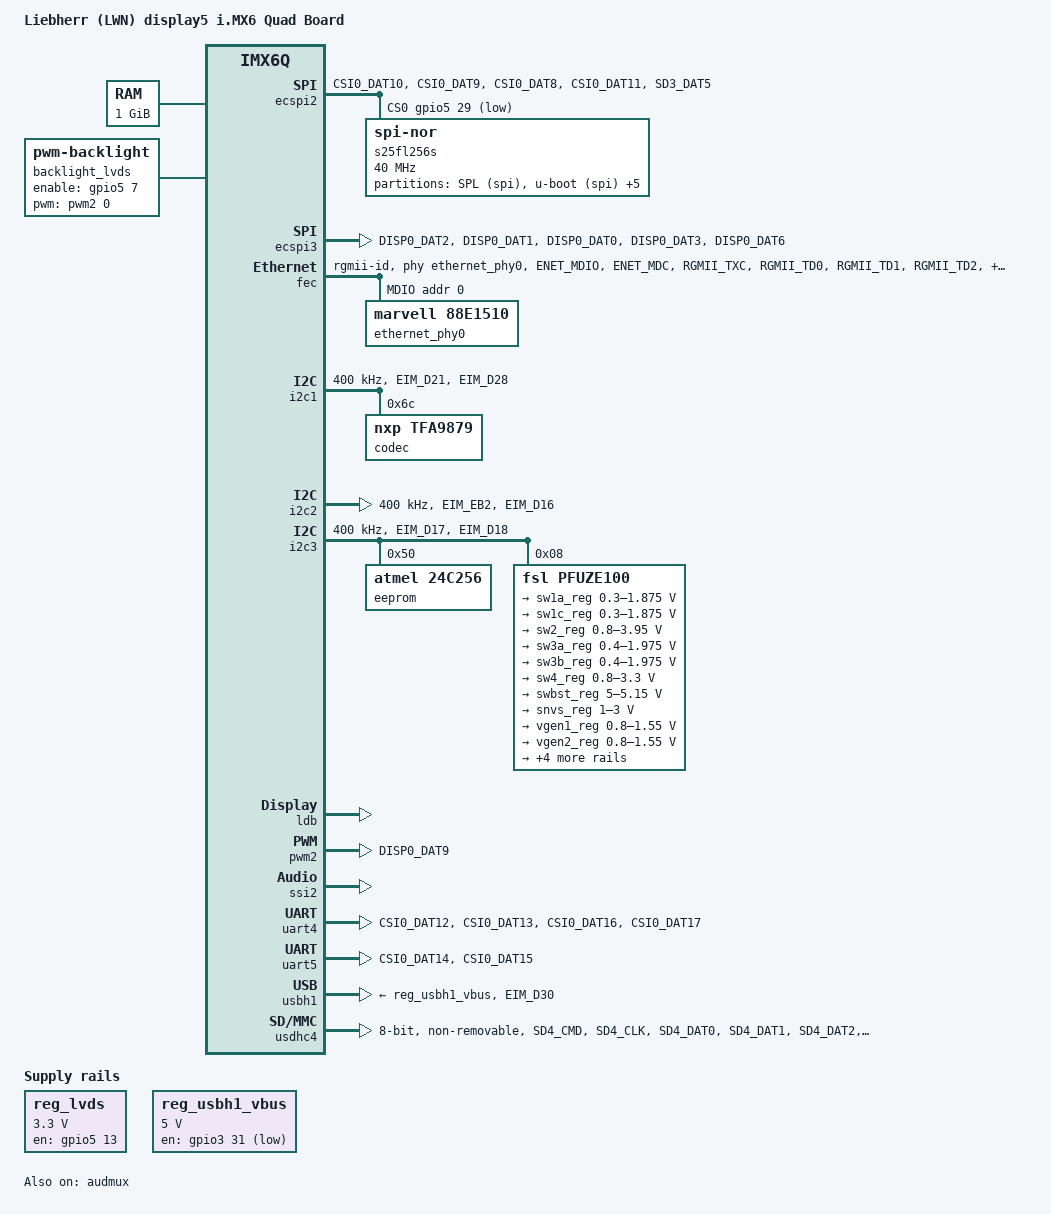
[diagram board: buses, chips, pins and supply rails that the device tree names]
// SPDX-License-Identifier: (GPL-2.0-only OR MIT)
/*
 * Copyright 2017
 * Lukasz Majewski, DENX Software Engineering, lukma@denx.de
 */

/dts-v1/;

#include "imx6q.dtsi"

#include <dt-bindings/gpio/gpio.h>
#include <dt-bindings/pwm/pwm.h>
#include <dt-bindings/sound/fsl-imx-audmux.h>

/ {
	model = "Liebherr (LWN) display5 i.MX6 Quad Board";
	compatible = "lwn,display5", "fsl,imx6q";

	memory@10000000 {
		device_type = "memory";
		reg = <0x10000000 0x40000000>;
	};

	backlight_lvds: backlight {
		compatible = "pwm-backlight";
		pinctrl-names = "default";
		pinctrl-0 = <&pinctrl_backlight>;
		pwms = <&pwm2 0 5000000 0>;
		brightness-levels = <  0   1   2   3   4   5   6   7   8   9
				      10  11  12  13  14  15  16  17  18  19
				      20  21  22  23  24  25  26  27  28  29
				      30  31  32  33  34  35  36  37  38  39
				      40  41  42  43  44  45  46  47  48  49
				      50  51  52  53  54  55  56  57  58  59
				      60  61  62  63  64  65  66  67  68  69
				      70  71  72  73  74  75  76  77  78  79
				      80  81  82  83  84  85  86  87  88  89
				      90  91  92  93  94  95  96  97  98  99
				     100 101 102 103 104 105 106 107 108 109
				     110 111 112 113 114 115 116 117 118 119
				     120 121 122 123 124 125 126 127 128 129
				     130 131 132 133 134 135 136 137 138 139
				     140 141 142 143 144 145 146 147 148 149
				     150 151 152 153 154 155 156 157 158 159
				     160 161 162 163 164 165 166 167 168 169
				     170 171 172 173 174 175 176 177 178 179
				     180 181 182 183 184 185 186 187 188 189
				     190 191 192 193 194 195 196 197 198 199
				     200 201 202 203 204 205 206 207 208 209
				     210 211 212 213 214 215 216 217 218 219
				     220 221 222 223 224 225 226 227 228 229
				     230 231 232 233 234 235 236 237 238 239
				     240 241 242 243 244 245 246 247 248 249
				     250 251 252 253 254 255>;
		default-brightness-level = <250>;
		enable-gpios = <&gpio5 7 GPIO_ACTIVE_HIGH>;
	};

	reg_lvds: regulator-lvds {
		compatible = "regulator-fixed";
		regulator-name = "lvds_ppen";
		regulator-min-microvolt = <3300000>;
		regulator-max-microvolt = <3300000>;
		regulator-boot-on;
		regulator-always-on;
		pinctrl-names = "default";
		pinctrl-0 = <&pinctrl_reg_lvds>;
		gpio = <&gpio5 13 GPIO_ACTIVE_HIGH>;
		enable-active-high;
	};

	reg_usbh1_vbus: usb-h1-vbus {
		compatible = "regulator-fixed";
		gpio = <&gpio3 31 GPIO_ACTIVE_LOW>;
		pinctrl-names = "default";
		pinctrl-0 = <&pinctrl_usbh1_vbus>;
		regulator-name = "usb_h1_vbus";
		regulator-min-microvolt = <5000000>;
		regulator-max-microvolt = <5000000>;
		regulator-enable-ramp-delay = <300000>;
	};

	sound {
		compatible = "simple-audio-card";
		label = "tfa9879-mono";

		simple-audio-card,dai-link {
			/* DAC */
			format = "i2s";
			bitclock-master = <&dailink_master>;
			frame-master = <&dailink_master>;

			dailink_master: cpu {
			    sound-dai = <&ssi2>;
			};
			codec {
			    sound-dai = <&codec>;
			};
		};
	};

	panel: panel-lvds0 {
		backlight = <&backlight_lvds>;
		power-supply = <&reg_lvds>;

		port {
			panel_in_lvds0: endpoint {
				remote-endpoint = <&lvds0_out>;
			};
		};
	};
};

&audmux {
	pinctrl-names = "default";
	pinctrl-0 = <&pinctrl_audmux>;
	status = "okay";

	mux-ssi2 {
		fsl,audmux-port = <1>;
		fsl,port-config = <
			(IMX_AUDMUX_V2_PTCR_SYN |
			 IMX_AUDMUX_V2_PTCR_TFSEL(5) |
			 IMX_AUDMUX_V2_PTCR_TCSEL(5) |
			 IMX_AUDMUX_V2_PTCR_TFSDIR |
			 IMX_AUDMUX_V2_PTCR_TCLKDIR)
			IMX_AUDMUX_V2_PDCR_RXDSEL(5)
		>;
	};

	mux-aud6 {
		fsl,audmux-port = <5>;
		fsl,port-config = <
			(IMX_AUDMUX_V2_PTCR_RFSEL(8) |
			 IMX_AUDMUX_V2_PTCR_RCSEL(8) |
			 IMX_AUDMUX_V2_PTCR_TFSEL(1) |
			 IMX_AUDMUX_V2_PTCR_TCSEL(1) |
			 IMX_AUDMUX_V2_PTCR_RFSDIR |
			 IMX_AUDMUX_V2_PTCR_RCLKDIR |
			 IMX_AUDMUX_V2_PTCR_TFSDIR |
			 IMX_AUDMUX_V2_PTCR_TCLKDIR)
			IMX_AUDMUX_V2_PDCR_RXDSEL(1)
		>;
	};
};

&ecspi2 {
	cs-gpios = <&gpio5 29 GPIO_ACTIVE_LOW>;
	pinctrl-names = "default";
	pinctrl-0 = <&pinctrl_ecspi2 &pinctrl_ecspi2_cs &pinctrl_ecspi2_flwp>;
	status = "okay";

	s25fl256s: flash@0 {
		#address-cells = <1>;
		#size-cells = <1>;
		compatible = "jedec,spi-nor";
		spi-max-frequency = <40000000>;
		reg = <0>;

		partition@0 {
			label = "SPL (spi)";
			reg = <0x0 0x20000>;
			read-only;
		};
		partition@1 {
			label = "u-boot (spi)";
			reg = <0x20000 0x100000>;
			read-only;
		};
		partition@2 {
			label = "uboot-env (spi)";
			reg = <0x120000 0x10000>;
		};
		partition@3 {
			label = "uboot-envr (spi)";
			reg = <0x130000 0x10000>;
		};
		partition@4 {
			label = "linux-recovery (spi)";
			reg = <0x140000 0x800000>;
		};
		partition@5 {
			label = "swupdate-fitImg (spi)";
			reg = <0x940000 0x400000>;
		};
		partition@6 {
			label = "swupdate-initramfs (spi)";
			reg = <0xD40000 0x800000>;
		};
	};
};

&ecspi3 {
	cs-gpios = <&gpio4 24 GPIO_ACTIVE_LOW>;
	pinctrl-names = "default";
	pinctrl-0 = <&pinctrl_ecspi3 &pinctrl_ecspi3_cs &pinctrl_ecspi3_flwp>;
	status = "okay";
};

&fec {
	pinctrl-names = "default";
	pinctrl-0 = <&pinctrl_enet>;
	phy-handle = <&ethernet_phy0>;
	phy-mode = "rgmii-id";
	status = "okay";

	mdio {
		#address-cells = <1>;
		#size-cells = <0>;
		ethernet_phy0: ethernet-phy@0 {
			compatible = "marvell,88E1510";
			device_type = "ethernet-phy";
			/* Set LED0 control: */
			/* On - Link, Blink - Activity, Off - No Link */
			marvell,reg-init = <3 0x10 0 0x1011>;
			max-speed = <100>;
			reg = <0>;
		};
	};
};

&i2c1 {
	clock-frequency = <400000>;
	pinctrl-names = "default";
	pinctrl-0 = <&pinctrl_i2c1>;
	status = "okay";

	codec: tfa9879@6c {
		#sound-dai-cells = <0>;
		compatible = "nxp,tfa9879";
		reg = <0x6C>;
	};
};

&i2c2 {
	clock-frequency = <400000>;
	pinctrl-names = "default";
	pinctrl-0 = <&pinctrl_i2c2>;
	status = "okay";
};

&i2c3 {
	clock-frequency = <400000>;
	pinctrl-names = "default";
	pinctrl-0 = <&pinctrl_i2c3>;
	status = "okay";

	eeprom@50 {
		compatible = "atmel,24c256";
		pagesize = <64>;
		reg = <0x50>;
	};

	pfuze100: pmic@8 {
		compatible = "fsl,pfuze100";
		reg = <0x08>;

		regulators {
			sw1a_reg: sw1ab {
				regulator-min-microvolt = <300000>;
				regulator-max-microvolt = <1875000>;
				regulator-boot-on;
				regulator-always-on;
				regulator-ramp-delay = <6250>;
			};

			sw1c_reg: sw1c {
				regulator-min-microvolt = <300000>;
				regulator-max-microvolt = <1875000>;
				regulator-boot-on;
				regulator-always-on;
				regulator-ramp-delay = <6250>;
			};

			sw2_reg: sw2 {
				regulator-min-microvolt = <800000>;
				regulator-max-microvolt = <3950000>;
				regulator-boot-on;
				regulator-always-on;
			};

			sw3a_reg: sw3a {
				regulator-min-microvolt = <400000>;
				regulator-max-microvolt = <1975000>;
				regulator-boot-on;
				regulator-always-on;
			};

			sw3b_reg: sw3b {
				regulator-min-microvolt = <400000>;
				regulator-max-microvolt = <1975000>;
				regulator-boot-on;
				regulator-always-on;
			};

			sw4_reg: sw4 {
				regulator-min-microvolt = <800000>;
				regulator-max-microvolt = <3300000>;
			};

			swbst_reg: swbst {
				regulator-min-microvolt = <5000000>;
				regulator-max-microvolt = <5150000>;
			};

			snvs_reg: vsnvs {
				regulator-min-microvolt = <1000000>;
				regulator-max-microvolt = <3000000>;
				regulator-boot-on;
				regulator-always-on;
			};

			vref_reg: vrefddr {
				regulator-boot-on;
				regulator-always-on;
			};

			vgen1_reg: vgen1 {
				regulator-min-microvolt = <800000>;
				regulator-max-microvolt = <1550000>;
			};

			vgen2_reg: vgen2 {
				regulator-min-microvolt = <800000>;
				regulator-max-microvolt = <1550000>;
			};

			vgen3_reg: vgen3 {
				regulator-min-microvolt = <1800000>;
				regulator-max-microvolt = <3300000>;
			};

			vgen4_reg: vgen4 {
				regulator-min-microvolt = <1800000>;
				regulator-max-microvolt = <3300000>;
				regulator-always-on;
			};

			vgen5_reg: vgen5 {
				regulator-min-microvolt = <1800000>;
				regulator-max-microvolt = <3300000>;
				regulator-always-on;
			};

			vgen6_reg: vgen6 {
				regulator-min-microvolt = <1800000>;
				regulator-max-microvolt = <3300000>;
				regulator-always-on;
			};
		};
	};
};

&ldb {
	status = "okay";

	lvds0: lvds-channel@0 {
		status = "okay";

		port@4 {
			reg = <4>;

			lvds0_out: endpoint {
				remote-endpoint = <&panel_in_lvds0>;
			};
		};
	};
};

&pwm2 {
	pinctrl-names = "default";
	pinctrl-0 = <&pinctrl_pwm2>;
	status = "okay";
};

&ssi2 {
	status = "okay";
};

&uart4 {
	pinctrl-names = "default";
	pinctrl-0 = <&pinctrl_uart4>;
	uart-has-rtscts;
	status = "okay";
};

&uart5 {
	pinctrl-names = "default";
	pinctrl-0 = <&pinctrl_uart5>;
	status = "okay";
};

&usbh1 {
	vbus-supply = <&reg_usbh1_vbus>;
	pinctrl-0 = <&pinctrl_usbh1>;
	status = "okay";
};

&usdhc4 {
	pinctrl-names = "default";
	pinctrl-0 = <&pinctrl_usdhc4>;
	bus-width = <8>;
	non-removable;
	status = "okay";
};

&iomuxc {
	pinctrl_audmux: audmuxgrp {
		fsl,pins = <
			/* I2S OUTPUT AUD6*/
			MX6QDL_PAD_DI0_PIN4__AUD6_RXD  0x130b0
			MX6QDL_PAD_DI0_PIN2__AUD6_TXD  0x130b0
			MX6QDL_PAD_DI0_PIN3__AUD6_TXFS  0x130b0
			MX6QDL_PAD_DI0_PIN15__AUD6_TXC  0x130b0
		>;
	};

	pinctrl_backlight: dispgrp {
		fsl,pins = <
			/* BLEN_OUT */
			MX6QDL_PAD_DISP0_DAT13__GPIO5_IO07    0x1b0b0
		>;
	};

	pinctrl_ecspi2: ecspi2grp {
		fsl,pins = <
			MX6QDL_PAD_CSI0_DAT10__ECSPI2_MISO	0x100b1
			MX6QDL_PAD_CSI0_DAT9__ECSPI2_MOSI	0x100b1
			MX6QDL_PAD_CSI0_DAT8__ECSPI2_SCLK	0x100b1
		>;
	};

	pinctrl_ecspi2_cs: ecspi2csgrp {
		fsl,pins = <
			MX6QDL_PAD_CSI0_DAT11__GPIO5_IO29 0x100b1
		>;
	};

	pinctrl_ecspi2_flwp: ecspi2flwpgrp {
		fsl,pins = <
			MX6QDL_PAD_SD3_DAT5__GPIO7_IO00 0x1b0b0
		>;
	};

	pinctrl_ecspi3: ecspi3grp {
		fsl,pins = <
			MX6QDL_PAD_DISP0_DAT2__ECSPI3_MISO	0x100b1
			MX6QDL_PAD_DISP0_DAT1__ECSPI3_MOSI	0x100b1
			MX6QDL_PAD_DISP0_DAT0__ECSPI3_SCLK	0x100b1
		>;
	};

	pinctrl_ecspi3_cs: ecspi3csgrp {
		fsl,pins = <
			MX6QDL_PAD_DISP0_DAT3__GPIO4_IO24 0x1b0b0
		>;
	};

	pinctrl_ecspi3_flwp: ecspi3flwpgrp {
		fsl,pins = <
			MX6QDL_PAD_DISP0_DAT6__GPIO4_IO27 0x1b0b0
		>;
	};

	pinctrl_enet: enetgrp {
		fsl,pins = <
			MX6QDL_PAD_ENET_MDIO__ENET_MDIO		0x1b0b0
			MX6QDL_PAD_ENET_MDC__ENET_MDC		0x1b0b0
			MX6QDL_PAD_RGMII_TXC__RGMII_TXC		0x1b0b0
			MX6QDL_PAD_RGMII_TD0__RGMII_TD0		0x1b0b0
			MX6QDL_PAD_RGMII_TD1__RGMII_TD1		0x1b0b0
			MX6QDL_PAD_RGMII_TD2__RGMII_TD2		0x1b0b0
			MX6QDL_PAD_RGMII_TD3__RGMII_TD3		0x1b0b0
			MX6QDL_PAD_RGMII_TX_CTL__RGMII_TX_CTL	0x1b0b0
			MX6QDL_PAD_ENET_REF_CLK__ENET_TX_CLK	0x1b0b0
			MX6QDL_PAD_RGMII_RXC__RGMII_RXC		0x1b0b0
			MX6QDL_PAD_RGMII_RD0__RGMII_RD0		0x1b0b0
			MX6QDL_PAD_RGMII_RD1__RGMII_RD1		0x1b0b0
			MX6QDL_PAD_RGMII_RD2__RGMII_RD2		0x1b0b0
			MX6QDL_PAD_RGMII_RD3__RGMII_RD3		0x1b0b0
			MX6QDL_PAD_RGMII_RX_CTL__RGMII_RX_CTL	0x1b0b0
			MX6QDL_PAD_GPIO_16__ENET_REF_CLK 0x4001b0a8
			MX6QDL_PAD_GPIO_6__ENET_IRQ		0x000b1
			MX6QDL_PAD_ENET_RXD0__GPIO1_IO27        0x1b0b0
		>;
	};

	pinctrl_i2c1: i2c1grp {
		fsl,pins = <
			MX6QDL_PAD_EIM_D21__I2C1_SCL	0x4001b8b1
			MX6QDL_PAD_EIM_D28__I2C1_SDA	0x4001b8b1
		>;
	};

	pinctrl_i2c2: i2c2grp {
		fsl,pins = <
			MX6QDL_PAD_EIM_EB2__I2C2_SCL	0x4001b8b1
			MX6QDL_PAD_EIM_D16__I2C2_SDA	0x4001b8b1
		>;
	};

	pinctrl_i2c3: i2c3grp {
		fsl,pins = <
			MX6QDL_PAD_EIM_D17__I2C3_SCL	0x4001b8b1
			MX6QDL_PAD_EIM_D18__I2C3_SDA	0x4001b8b1
		>;
	};

	pinctrl_pwm2: pwm2grp {
		fsl,pins = <
			MX6QDL_PAD_DISP0_DAT9__PWM2_OUT	0x1b0b1
		>;
	};

	pinctrl_reg_lvds: reqlvdsgrp {
		fsl,pins = <
			/* LVDS_PPEN_OUT */
			MX6QDL_PAD_DISP0_DAT19__GPIO5_IO13      0x1b0b0
		>;
	};

	pinctrl_uart4: uart4grp {
		fsl,pins = <
			MX6QDL_PAD_CSI0_DAT12__UART4_TX_DATA	0x1b0b1
			MX6QDL_PAD_CSI0_DAT13__UART4_RX_DATA	0x1b0b1
			MX6QDL_PAD_CSI0_DAT16__UART4_RTS_B	0x1b0b1
			MX6QDL_PAD_CSI0_DAT17__UART4_CTS_B	0x1b0b1
		>;
	};

	pinctrl_uart5: uart5grp {
		fsl,pins = <
			MX6QDL_PAD_CSI0_DAT14__UART5_TX_DATA	0x1b0b1
			MX6QDL_PAD_CSI0_DAT15__UART5_RX_DATA    0x1b0b1
		>;
	};

	pinctrl_usbh1: usbh1grp {
		fsl,pins = <
			MX6QDL_PAD_EIM_D30__USB_H1_OC  0x030b0
		>;
	};

	pinctrl_usbh1_vbus: usbh1_vbus_grp {
		fsl,pins = <
			MX6QDL_PAD_EIM_D31__GPIO3_IO31 0x1b0b0
		>;
	};

	pinctrl_usdhc4: usdhc4grp {
		fsl,pins = <
			MX6QDL_PAD_SD4_CMD__SD4_CMD		0x17059
			MX6QDL_PAD_SD4_CLK__SD4_CLK		0x10059
			MX6QDL_PAD_SD4_DAT0__SD4_DATA0		0x17059
			MX6QDL_PAD_SD4_DAT1__SD4_DATA1		0x17059
			MX6QDL_PAD_SD4_DAT2__SD4_DATA2		0x17059
			MX6QDL_PAD_SD4_DAT3__SD4_DATA3		0x17059
			MX6QDL_PAD_SD4_DAT4__SD4_DATA4		0x17059
			MX6QDL_PAD_SD4_DAT5__SD4_DATA5		0x17059
			MX6QDL_PAD_SD4_DAT6__SD4_DATA6		0x17059
			MX6QDL_PAD_SD4_DAT7__SD4_DATA7		0x17059
			MX6QDL_PAD_NANDF_ALE__SD4_RESET	0x17059
		>;
	};
};
